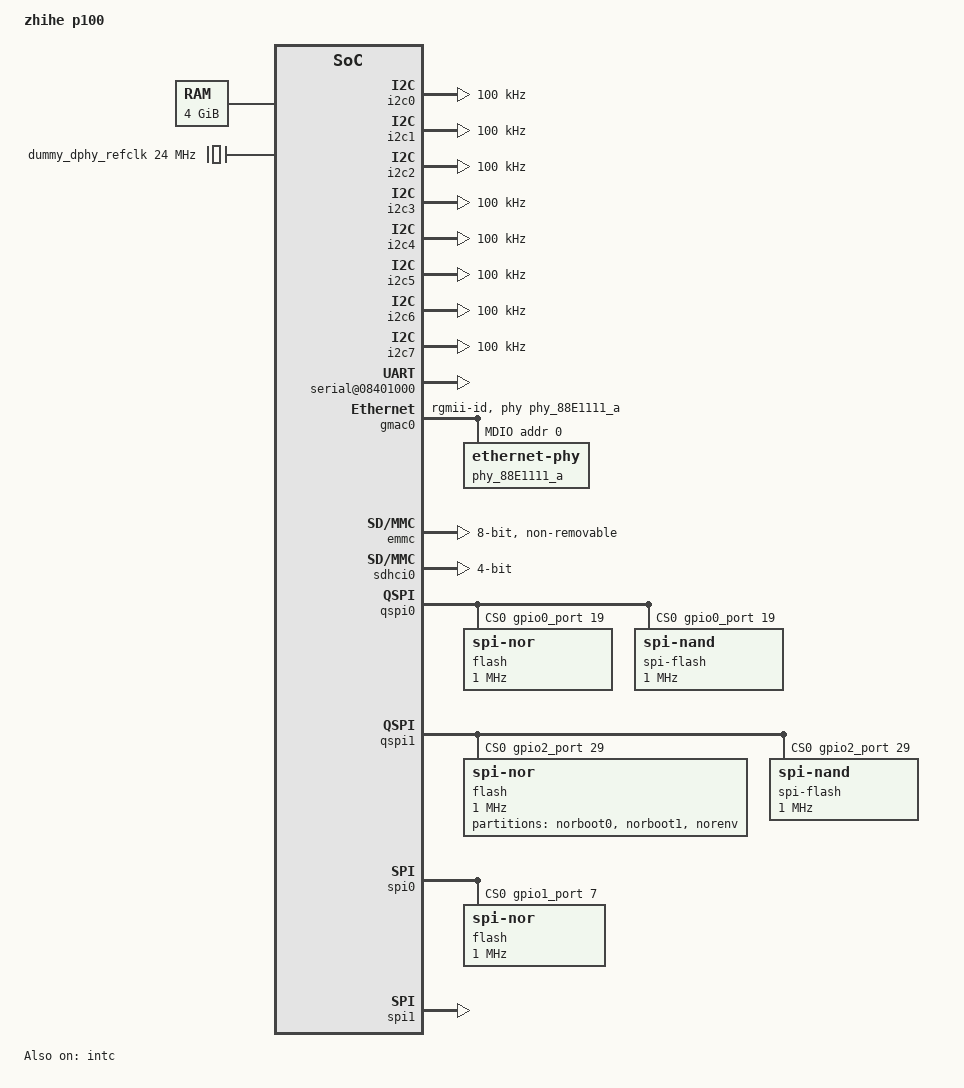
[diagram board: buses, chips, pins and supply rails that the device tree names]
// SPDX-License-Identifier: GPL-2.0+
/*
 * (C) Copyright 2024 Zhihe Computing Technology (Shenzhen) Co., Ltd.
 */

/dts-v1/;
/ {
	model = "zhihe p100";
	compatible = "zhihe,p100";
	#address-cells = <2>;
	#size-cells = <2>;

	memory@80000000  {
		device_type = "memory";
		reg = <0x00 0x80000000  0x01 0x00000000>; /* 2G */
	};

	reserved-memory {
		#address-cells = <2>;
		#size-cells = <2>;
		ranges;
	};
	aliases {
		spi0 = &spi0;
		spi1 = &spi1;
		spi2 = &qspi0;
		spi3 = &qspi1;
	};

	cpus {
		#address-cells = <1>;
		#size-cells = <0>;
		timebase-frequency = <10000000>; /* 10M */
		bootph-pre-ram;
		cpu@0 {
			device_type = "cpu";
			reg = <0>;
			status = "okay";
			compatible = "riscv";
			riscv,isa = "rv64imafdcvsu";
			mmu-type = "riscv,sv39";
			bootph-pre-ram;
		};
	};

	soc {
		#address-cells = <2>;
		#size-cells = <2>;
		compatible = "simple-bus";
		ranges;
		bootph-pre-ram;

		intc: interrupt-controller@0018000000 {
			compatible = "riscv,plic0";
			reg = <0x00 0x18000000 0x0 0x04000000>;
			status = "okay";
		};

		dummy_apb: apb-clock {
			compatible = "fixed-clock";
			clock-frequency = <10000000>;  /* 10M */
			clock-output-names = "dummy_apb";
			#clock-cells = <0>;
			bootph-pre-ram;
		};

		dummy_ahb: ahb-clock {
			compatible = "fixed-clock";
			clock-frequency = <10000000>;  /* 10M */
			clock-output-names = "core";
			#clock-cells = <0>;
			bootph-pre-ram;
		};

		dummy_spi: spi-clock {
			compatible = "fixed-clock";
			clock-frequency = <10000000>;  /* 10M */
			clock-output-names = "dummy_spi";
			#clock-cells = <0>;
			bootph-pre-ram;
		};

		dummy_qspi: qspi-clock {
			compatible = "fixed-clock";
			clock-frequency = <10000000>;  /* 10M */
			clock-output-names = "dummy_qspi";
			#clock-cells = <0>;
			bootph-pre-ram;
		};

		dummy_uart_sclk: uart-sclk-clock {
			compatible = "fixed-clock";
			clock-frequency = <10000000>;  /* 10M */
			clock-output-names = "dummy_uart_sclk";
			#clock-cells = <0>;
			bootph-pre-ram;
		};

		dummy_gmac_clk: gmac-clk-clock {
			compatible = "fixed-clock";
			clock-frequency = <10000000>;
			clock-output-names = "dummy_gmac_clk";
			#clock-cells = <0>;
			bootph-pre-ram;
		};

		dummy_i2c_icclk: i2c-icclk-clock {
			compatible = "fixed-clock";
			clock-frequency = <10000000>;
			clock-output-names = "dummy_i2c_icclk";
			#clock-cells = <0>;
			bootph-pre-ram;
		};

		dummy_dpu_pixclk: dpu-pix-clock {
			compatible = "fixed-clock";
			clock-frequency = <74250000>;
			clock-output-names = "dummy_dpu_pixclk";
			#clock-cells = <0>;
			bootph-pre-ram;
		};

		dummy_dphy_refclk: dphy-ref-clock {
			compatible = "fixed-clock";
			clock-frequency = <24000000>;
			clock-output-names = "dummy_dpu_refclk";
			#clock-cells = <0>;
			bootph-pre-ram;
		};

		i2c0: i2c@02020000 {
			compatible = "snps,designware-i2c";
			reg = <0x00 0x02020000 0x0 0x1000>;
			clocks = <&dummy_i2c_icclk>;
			clock-frequency = <100000>;

			#address-cells = <1>;
			#size-cells = <0>;
		};

		i2c1: i2c@02021000{
			compatible = "snps,designware-i2c";
			reg = <0x00 0x02021000 0x0 0x1000>;
			clocks = <&dummy_i2c_icclk>;
			clock-frequency = <100000>;

			#address-cells = <1>;
			#size-cells = <0>;
		};

		i2c2: i2c@02022000{
			compatible = "snps,designware-i2c";
			reg = <0x00 0x02022000 0x0 0x1000>;
			clocks = <&dummy_i2c_icclk>;
			clock-frequency = <100000>;

			#address-cells = <1>;
			#size-cells = <0>;
		};

		i2c3: i2c@08415000{
			compatible = "snps,designware-i2c";
			reg = <0x00 0x08415000 0x0 0x1000>;
			clocks = <&dummy_i2c_icclk>;
			clock-frequency = <100000>;

			#address-cells = <1>;
			#size-cells = <0>;
		};

		i2c4: i2c@08416000{
			compatible = "snps,designware-i2c";
			reg = <0x00 0x08416000 0x0 0x1000>;
			clocks = <&dummy_i2c_icclk>;
			clock-frequency = <100000>;

			#address-cells = <1>;
			#size-cells = <0>;
		};

		i2c5: i2c@08417000{
			compatible = "snps,designware-i2c";
			reg = <0x00 0x08417000 0x0 0x1000>;
			clocks = <&dummy_i2c_icclk>;
			clock-frequency = <100000>;

			#address-cells = <1>;
			#size-cells = <0>;
		};

		i2c6: i2c@08418000{
			compatible = "snps,designware-i2c";
			reg = <0x00 0x08418000 0x0 0x1000>;
			clocks = <&dummy_i2c_icclk>;
			clock-frequency = <100000>;

			#address-cells = <1>;
			#size-cells = <0>;
		};

		i2c7: i2c@08419000{
			compatible = "snps,designware-i2c";
			reg = <0x00 0x08419000 0x0 0x1000>;
			clocks = <&dummy_i2c_icclk>;
			clock-frequency = <100000>;

			#address-cells = <1>;
			#size-cells = <0>;
		};

		serial@08401000 {
			compatible = "snps,dw-apb-uart";
			reg = <0x0 0x08401000 0x0 0x400>;
			clocks = <&dummy_uart_sclk>;
			clock-names = "baudclk";
			reg-shift = <2>;
			reg-io-width = <4>;
			bootph-pre-ram;
		};

		gmac0: ethernet@02100000{
			compatible = "zhihe,p100-dwmac";
			reg = <0x00 0x02100000 0x0 0x10000>;
			clocks = <&dummy_gmac_clk>, <&dummy_gmac_clk>, <&dummy_gmac_clk>;
			clock-names = "master_bus", "mac-clk-rx", "mac-clk-tx";
			snps,pbl = <32>;
			snps,fixed-burst;

			phy-mode = "rgmii-id";
			phy-handle = <&phy_88E1111_a>;
			speed = <10>;
			status = "okay";
			mdio0 {
				#address-cells = <1>;
				#size-cells = <0>;
				compatible = "snps,dwmac-mdio";
				/* The value of phy reg is related to the number of supported phy (CONFIG_PHY_???) */
				phy_88E1111_a: ethernet-phy@1 {
					reg = <0x0>;
				};
			};
		};

		emmc: sdhci@00500000 {
			compatible = "zhihe,p100-dwcmshc";
			reg = <0x00 0x00500000 0x0 0x10000>;
			index = <0x0>;
			clocks = <&dummy_ahb>;       /* The item is invalid, but it must exist */
			clock-names = "core";
			clock-frequency = <10000000>;  /* 10M Base Clock */
			max-frequency = <400000>;    /* 400K Max emmc Clock */
			sdhci-caps-mask = <0x0 0x1000000>;
			mmc-hs200-1_8v;
			non-removable;
			no-sdio;
			no-sd;
			bus-width = <8>;
			voltage= "1.8v";
			pull_up;
			io_fixed_1v8;
			fifo-mode;
			bootph-pre-ram;
			status = "okay";
		};

		sdhci0: sd@00510000 {
			compatible = "zhihe,p100-dwcmshc";
			reg = <0x00 0x00510000 0x0 0x10000>;
			index = <0x1>;
			clocks = <&dummy_ahb>;
			clock-names = "core";
			clock-frequency = <10000000>;  /* 10M Base Clock */
			max-frequency = <10000000>;
			sd-uhs-sdr104;
			pull_up;
			bus-width = <4>;
			voltage= "3.3v";
			status = "okay";
		};

		qspi0: spi@01000000 {
			compatible = "zhihe,dw-apb-ssi";
			reg = <0x00 0x01000000 0x0 0x4000>;
			clocks = <&dummy_qspi>;
			clock-names = "dummy_qspi";
			num-cs = <1>;
			cs-gpios = <&gpio0_port 19 0>;
			spi-max-frequency = <1000000>;
			#address-cells = <1>;
			#size-cells =<0>;
			flash@0 {
				compatible = "jedec,spi-nor";
				reg = <0>;
				#address-cells = <1>;
				#size-cells = <1>;
				spi-max-frequency = <1000000>;
				spi-tx-bus-width = <4>;
				spi-rx-bus-width = <4>;
			};

			spi-flash@0 {
				compatible = "spi-nand";
				spi-max-frequency = <1000000>;
				#address-cells = <1>;
				#size-cells = <1>;
				spi-tx-bus-width = <4>;
				spi-rx-bus-width = <4>;
				reg = <0>;
			};
		};

		qspi1: spi@08428000 {
			compatible = "zhihe,dw-apb-ssi";
			reg = <0x00 0x08428000 0x0 0x4000>;
			clocks = <&dummy_qspi>;
			clock-names = "dummy_qspi";
			num-cs = <1>;
			cs-gpios = <&gpio2_port 29 0>;
			spi-max-frequency = <1000000>; /* <66000000>; */
			#address-cells = <1>;
			#size-cells =<0>;
			flash@1 {
				compatible = "jedec,spi-nor";
				reg = <0>;
				spi-max-frequency = <1000000>;
				#address-cells = <1>;
				#size-cells = <1>;
				spi-tx-bus-width = <4>;
				spi-rx-bus-width = <4>;

				partitions {
					compatible = "fixed-partitions";
					#address-cells = <1>;
					#size-cells = <1>;
					partition@norboot0 {
						reg = <0x00000000 0x00100000>;
						label = "norboot0";
					};
					partition@norboot1 {
						reg = <0x00100000 0x00100000>;
						label = "norboot1";
					};
					partition@norenv {
						reg = <0x00200000 0x00040000>;
						label = "norenv";
					};
				};
			};

			spi-flash@1 {
				compatible = "spi-nand";
				spi-max-frequency = <1000000>;
				#address-cells = <1>;
				#size-cells = <1>;
				spi-tx-bus-width = <4>;
				spi-rx-bus-width = <4>;
				reg = <0>;
			};
		};

		spi0: spi@02023000 {
			compatible = "zhihe,dw-apb-ssi";
			reg = <0x00 0x02023000 0x0 0x1000>;
			clocks = <&dummy_spi>;
			clock-names = "dummy_spi";
			num-cs = <1>;
			cs-gpios = <&gpio1_port 7 0>;
			spi-max-frequency = <1000000>; /* <100000000>; */
			#address-cells = <1>;
			#size-cells = <0>;
			flash@0 {
				compatible = "jedec,spi-nor";
				reg = <0>;
				spi-max-frequency = <1000000>;
			};
		};

		spi1: spi@08413000 {
			compatible = "zhihe,dw-apb-ssi";
			reg = <0x00 0x08413000 0x0 0x1000>;
			clocks = <&dummy_spi>;
			clock-names = "dummy_spi";
			num-cs = <1>;
			/* cs-gpios = <&gpio2_port 15 1>; */
			spi-max-frequency = <1000000>; /* <100000000>; */
			#address-cells = <1>;
			#size-cells = <0>;
		};

		gpio0: gpio@02012000 {
			compatible = "snps,dw-apb-gpio";
			reg = <0x00 0x02012000 0x0 0x1000>;
			clocks = <&dummy_apb>;
			#address-cells = <1>;
			#size-cells = <0>;

			gpio0_port: gpio@0 {
				compatible = "snps,dw-apb-gpio-port";
				gpio-controller;
				#gpio-cells = <2>;
				snps,nr-gpios = <32>;
				reg = <0>;
			};
		};

		gpio1: gpio@02013000 {
			compatible = "snps,dw-apb-gpio";
			reg = <0x00 0x02013000 0x0 0x1000>;
			clocks = <&dummy_apb>;
			#address-cells = <1>;
			#size-cells = <0>;

			gpio1_port: gpio@1 {
				compatible = "snps,dw-apb-gpio-port";
				gpio-controller;
				#gpio-cells = <2>;
				snps,nr-gpios = <18>;
				reg = <0>;
			};
		};

		gpio2: gpio@08410000 {
			compatible = "snps,dw-apb-gpio";
			reg = <0x00 0x08410000 0x0 0x1000>;
			clocks = <&dummy_apb>;
			#address-cells = <1>;
			#size-cells = <0>;

			gpio2_port: gpio@2 {
				compatible = "snps,dw-apb-gpio-port";
				gpio-controller;
				#gpio-cells = <2>;
				snps,nr-gpios = <32>;
				reg = <0>;
			};
		};

		gpio3: gpio@08412000 {
			compatible = "snps,dw-apb-gpio";
			reg = <0x00 0x08412000 0x0 0x1000>;
			clocks = <&dummy_apb>;
			#address-cells = <1>;
			#size-cells = <0>;

			gpio3_port: gpio@3 {
				compatible = "snps,dw-apb-gpio-port";
				gpio-controller;
				#gpio-cells = <2>;
				snps,nr-gpios = <11>;
				reg = <0>;
			};
		};

		gpio4: gpio@00550000 {
			compatible = "snps,dw-apb-gpio";
			reg = <0x00 0x00550000 0x0 0x1000>;
			clocks = <&dummy_apb>;
			#address-cells = <1>;
			#size-cells = <0>;

			gpio4_port: gpio@4 {
				compatible = "snps,dw-apb-gpio-port";
				gpio-controller;
				#gpio-cells = <2>;
				snps,nr-gpios = <6>;
				reg = <0>;
			};
		};
	};

	chosen {
		bootargs = "console=ttyS4,115200";
		stdout-path = "/soc/serial@08401000:115200";
	};
};
